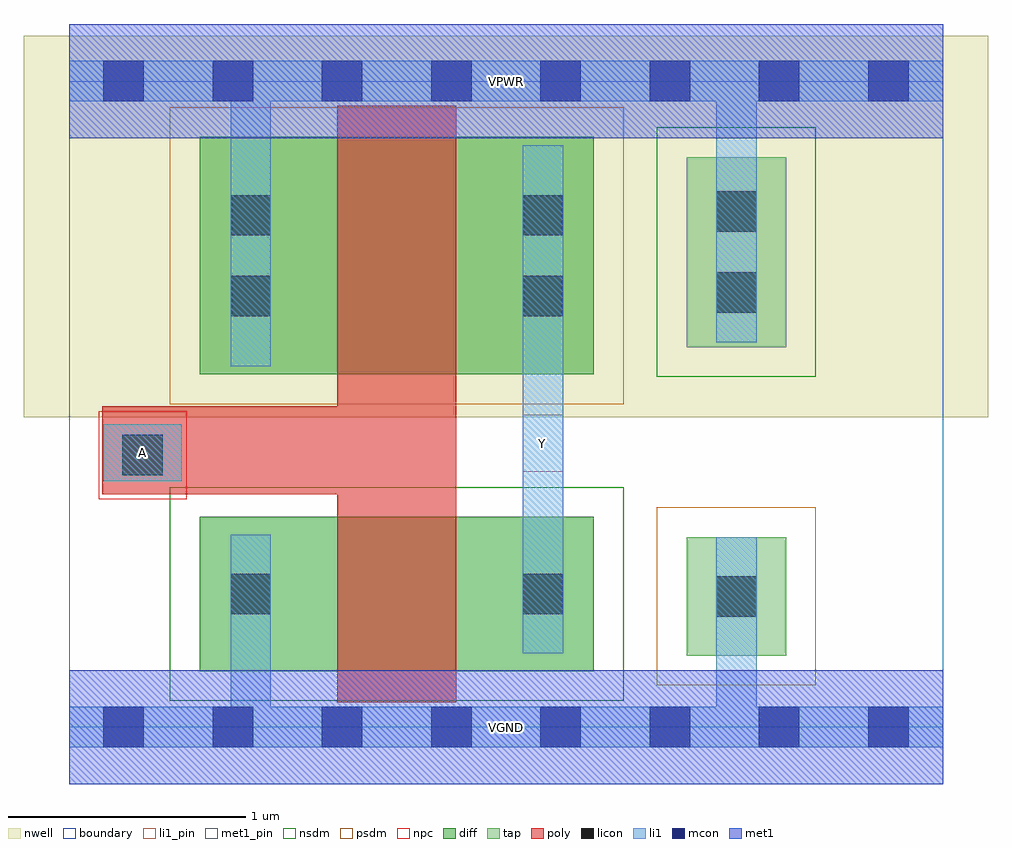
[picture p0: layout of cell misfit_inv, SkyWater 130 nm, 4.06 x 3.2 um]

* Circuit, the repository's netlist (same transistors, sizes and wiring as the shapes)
* NGSPICE file created from misfit_inv.ext - technology: sky130A

.subckt misfit_inv A Y VGND VPWR
X0 Y A VGND VGND sky130_fd_pr__nfet_01v8 ad=0.377 pd=2.46 as=0.377 ps=2.46 w=0.65 l=0.5
X1 Y A VPWR VPWR sky130_fd_pr__pfet_01v8 ad=0.58 pd=3.16 as=0.58 ps=3.16 w=1 l=0.5
.ends

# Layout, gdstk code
import gdstk
lib = gdstk.Library(unit=1e-6, precision=1e-09)
def R(c, l, rs):  # rectangles x0, y0, x1, y1
    for r in rs: c.add(gdstk.rectangle(r[:2], r[2:], *l))
def A(c, l, x, y, w, h, nx, ny, dx, dy):  # array of equal rectangles
    R(c, l, [(x+i*dx, y+j*dy, x+i*dx+w, y+j*dy+h) for i in range(nx) for j in range(ny)])
nwell = (64, 20)
diff = (65, 20)
tap = (65, 44)
poly = (66, 20)
licon = (66, 44)
li1_pin = (67, 16)
li1 = (67, 20)
mcon = (67, 44)
met1_pin = (68, 16)
met1 = (68, 20)
nsdm = (93, 44)
psdm = (94, 20)
npc = (95, 20)
boundary = (235, 4)

misfit_inv = lib.new_cell('misfit_inv')
R(misfit_inv, nwell, [(-0.19,1.305,3.87,2.91)])
R(misfit_inv, diff, [(0.55,0.235,2.21,0.885), (0.55,1.485,2.21,2.485)])
R(misfit_inv, tap, [(2.6,0.3,3.02,0.8), (2.6,1.6,3.02,2.4)])
R(misfit_inv, poly, [(1.13,0.105,1.63,0.98), (0.14,0.98,1.63,1.35), (1.13,1.35,1.63,2.615)])
R(misfit_inv, licon, [(2.725,0.465,2.895,0.635), (0.68,0.475,0.85,0.645), (1.91,0.475,2.08,0.645), (0.225,1.06,0.395,1.23), (0.68,1.73,0.85,1.9), (1.91,1.73,2.08,1.9), (2.725,1.745,2.895,1.915), (0.68,2.07,0.85,2.24), (1.91,2.07,2.08,2.24), (2.725,2.085,2.895,2.255)])
R(misfit_inv, li1_pin, [(0.145,1.035,0.475,1.275), (1.91,1.075,2.08,1.315)])
R(misfit_inv, li1, [(0,-0.085,3.68,0.085), (0.68,0.085,0.85,0.81), (2.725,0.085,2.895,0.8), (1.91,0.31,2.08,2.45), (0.145,1.035,0.475,1.275), (0.68,1.52,0.85,2.635), (2.725,1.62,2.895,2.635), (0,2.635,3.68,2.805)])
A(misfit_inv, mcon, 0.145, -0.085, 0.17, 0.17, 8, 2, 0.46, 2.72)
R(misfit_inv, met1_pin, [(0,-0.24,3.68,0.24), (0,2.48,3.68,2.96)])
R(misfit_inv, met1, [(0,-0.24,3.68,0.24), (0,2.48,3.68,2.96)])
R(misfit_inv, nsdm, [(0.425,0.11,2.335,1.01), (2.475,1.475,3.145,2.525)])
R(misfit_inv, psdm, [(2.475,0.175,3.145,0.925), (0.425,1.36,2.335,2.61)])
R(misfit_inv, npc, [(0.125,0.96,0.495,1.33)])
R(misfit_inv, boundary, [(0,0,3.68,2.72)])
misfit_inv.add(gdstk.Label('A', (0.31,1.155), layer=67, texttype=5))
misfit_inv.add(gdstk.Label('Y', (1.995,1.195), layer=67, texttype=5))
misfit_inv.add(gdstk.Label('VGND', (1.84,0), layer=68, texttype=5))
misfit_inv.add(gdstk.Label('VPWR', (1.84,2.72), layer=68, texttype=5))

lib.write_gds('misfit_inv.gds')
